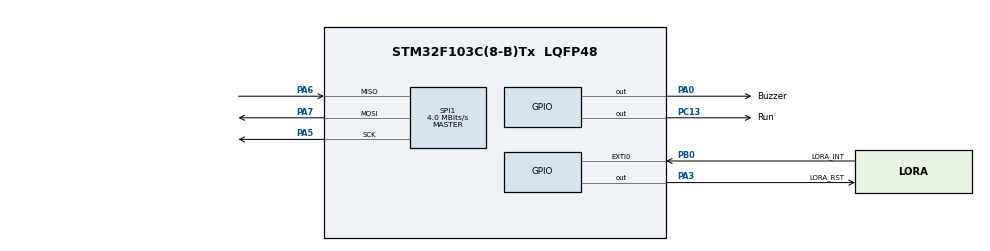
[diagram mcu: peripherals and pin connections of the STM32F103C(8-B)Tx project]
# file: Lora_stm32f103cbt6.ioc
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Mcu.Family=STM32F1
Mcu.Name=STM32F103C(8-B)Tx
Mcu.Package=LQFP48
NVIC.EXTI0_IRQn=true\:0\:0\:false\:false\:true\:true\:true\:true
NVIC.PriorityGroup=NVIC_PRIORITYGROUP_4
PA0-WKUP.GPIO_Label=Buzzer
PA0-WKUP.Signal=GPIO_Output
PA13.Mode=Trace_Asynchronous_SW
PA13.Signal=SYS_JTMS-SWDIO
PA14.Mode=Trace_Asynchronous_SW
PA14.Signal=SYS_JTCK-SWCLK
PA3.GPIO_Label=LORA_RST
PA3.Signal=GPIO_Output
PA4.GPIO_Label=LORA_NSS
PA4.Signal=SPI1_NSS
PA5.Mode=Full_Duplex_Master
PA5.Signal=SPI1_SCK
PA6.Mode=Full_Duplex_Master
PA6.Signal=SPI1_MISO
PA7.Mode=Full_Duplex_Master
PA7.Signal=SPI1_MOSI
PB0.GPIO_Label=LORA_INT
PB0.Signal=GPXTI0
PB3.Mode=Trace_Asynchronous_SW
PB3.Signal=SYS_JTDO-TRACESWO
PC13-TAMPER-RTC.GPIO_Label=Run
PC13-TAMPER-RTC.Signal=GPIO_Output
PD0-OSC_IN.Mode=HSE-External-Oscillator
PD0-OSC_IN.Signal=RCC_OSC_IN
PD1-OSC_OUT.Mode=HSE-External-Oscillator
PD1-OSC_OUT.Signal=RCC_OSC_OUT
ProjectManager.HeapSize=0x200
ProjectManager.StackSize=0x400
ProjectManager.TargetToolchain=STM32CubeIDE
RCC.APB1Freq_Value=8000000
RCC.APB2Freq_Value=8000000
SPI1.CalculateBaudRate=4.0 MBits/s
SPI1.Direction=SPI_DIRECTION_2LINES
SPI1.Mode=SPI_MODE_MASTER
SPI1.VirtualType=VM_MASTER
VP_CRC_VS_CRC.Mode=CRC_Activate
board=custom

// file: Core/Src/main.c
/* USER CODE BEGIN Header */
/**
  ******************************************************************************
  * @file           : main.c
  * @brief          : Main program body
  ******************************************************************************
  * @attention
  *
  * Copyright (c) 2025 STMicroelectronics.
  * All rights reserved.
  *
  * This software is licensed under terms that can be found in the LICENSE file
  * in the root directory of this software component.
  * If no LICENSE file comes with this software, it is provided AS-IS.
  *
  ******************************************************************************
  */
/* USER CODE END Header */
#include "main.h"

/* USER CODE BEGIN Includes */
#include "ack_handler.h"
#include "lora_config.h"
#include "debug.h"

/* USER CODE END Includes */

CRC_HandleTypeDef hcrc;

SPI_HandleTypeDef hspi1;

/* USER CODE BEGIN PV */
LoRa myLoRa;
uint8_t receivedFlag = 0;
/* USER CODE END PV */

void SystemClock_Config(void);
static void MX_GPIO_Init(void);
static void MX_CRC_Init(void);
static void MX_SPI1_Init(void);

int main(void)
{

  /* MCU Configuration--------------------------------------------------------*/

  /* Reset of all peripherals, Initializes the Flash interface and the Systick. */
  HAL_Init();

  /* Configure the system clock */
  SystemClock_Config();

  /* Initialize all configured peripherals */
  MX_GPIO_Init();
  MX_CRC_Init();
  MX_SPI1_Init();
  /* USER CODE BEGIN 2 */

  // Initialize LoRa
  LoRa_Init();
  DEBUG_PRINT("LoRa Init Successful\r\n");

  // Start LoRa receiving
  	  LoRa_startReceiving(&myLoRa);

  /* USER CODE END 2 */

  /* Infinite loop */
  while (1)
  {

    /* USER CODE BEGIN 3 */
	  if (receivedFlag)
	  		{
	  		 receivedFlag = 0;
	  		 receiveAndsendACK_RX(&myLoRa);
	  				 HAL_GPIO_TogglePin(Buzzer_GPIO_Port, Buzzer_Pin);
	  				 HAL_Delay(100);
	  				 HAL_GPIO_TogglePin(Buzzer_GPIO_Port, Buzzer_Pin);
	  				 HAL_Delay(100);
	  				 HAL_GPIO_TogglePin(Buzzer_GPIO_Port, Buzzer_Pin);
	  		     	 HAL_Delay(100);
	  				 HAL_GPIO_WritePin(Buzzer_GPIO_Port, Buzzer_Pin, GPIO_PIN_RESET);
	  		     	 HAL_Delay(100);
	  		}
  }
  /* USER CODE END 3 */
}

void SystemClock_Config(void)
{
  RCC_OscInitTypeDef RCC_OscInitStruct = {0};
  RCC_ClkInitTypeDef RCC_ClkInitStruct = {0};

  /** Initializes the RCC Oscillators according to the specified parameters
  * in the RCC_OscInitTypeDef structure.
  */
  RCC_OscInitStruct.OscillatorType = RCC_OSCILLATORTYPE_HSI;
  RCC_OscInitStruct.HSIState = RCC_HSI_ON;
  RCC_OscInitStruct.HSICalibrationValue = RCC_HSICALIBRATION_DEFAULT;
  RCC_OscInitStruct.PLL.PLLState = RCC_PLL_NONE;
  if (HAL_RCC_OscConfig(&RCC_OscInitStruct) != HAL_OK)
  {
    Error_Handler();
  }

  /** Initializes the CPU, AHB and APB buses clocks
  */
  RCC_ClkInitStruct.ClockType = RCC_CLOCKTYPE_HCLK|RCC_CLOCKTYPE_SYSCLK
                              |RCC_CLOCKTYPE_PCLK1|RCC_CLOCKTYPE_PCLK2;
  RCC_ClkInitStruct.SYSCLKSource = RCC_SYSCLKSOURCE_HSI;
  RCC_ClkInitStruct.AHBCLKDivider = RCC_SYSCLK_DIV1;
  RCC_ClkInitStruct.APB1CLKDivider = RCC_HCLK_DIV1;
  RCC_ClkInitStruct.APB2CLKDivider = RCC_HCLK_DIV1;

  if (HAL_RCC_ClockConfig(&RCC_ClkInitStruct, FLASH_LATENCY_0) != HAL_OK)
  {
    Error_Handler();
  }
}

static void MX_CRC_Init(void)
{

  hcrc.Instance = CRC;
  if (HAL_CRC_Init(&hcrc) != HAL_OK)
  {
    Error_Handler();
  }

}

static void MX_SPI1_Init(void)
{

  /* SPI1 parameter configuration*/
  hspi1.Instance = SPI1;
  hspi1.Init.Mode = SPI_MODE_MASTER;
  hspi1.Init.Direction = SPI_DIRECTION_2LINES;
  hspi1.Init.DataSize = SPI_DATASIZE_8BIT;
  hspi1.Init.CLKPolarity = SPI_POLARITY_LOW;
  hspi1.Init.CLKPhase = SPI_PHASE_1EDGE;
  hspi1.Init.NSS = SPI_NSS_SOFT;
  hspi1.Init.BaudRatePrescaler = SPI_BAUDRATEPRESCALER_2;
  hspi1.Init.FirstBit = SPI_FIRSTBIT_MSB;
  hspi1.Init.TIMode = SPI_TIMODE_DISABLE;
  hspi1.Init.CRCCalculation = SPI_CRCCALCULATION_DISABLE;
  hspi1.Init.CRCPolynomial = 10;
  if (HAL_SPI_Init(&hspi1) != HAL_OK)
  {
    Error_Handler();
  }

}

static void MX_GPIO_Init(void)
{
  GPIO_InitTypeDef GPIO_InitStruct = {0};

  /* GPIO Ports Clock Enable */
  __HAL_RCC_GPIOC_CLK_ENABLE();
  __HAL_RCC_GPIOD_CLK_ENABLE();
  __HAL_RCC_GPIOA_CLK_ENABLE();
  __HAL_RCC_GPIOB_CLK_ENABLE();

  /*Configure GPIO pin Output Level */
  HAL_GPIO_WritePin(Run_GPIO_Port, Run_Pin, GPIO_PIN_RESET);

  /*Configure GPIO pin Output Level */
  HAL_GPIO_WritePin(GPIOA, Buzzer_Pin|LORA_RST_Pin, GPIO_PIN_RESET);

  /*Configure GPIO pin : Run_Pin */
  GPIO_InitStruct.Pin = Run_Pin;
  GPIO_InitStruct.Mode = GPIO_MODE_OUTPUT_PP;
  GPIO_InitStruct.Pull = GPIO_NOPULL;
  GPIO_InitStruct.Speed = GPIO_SPEED_FREQ_LOW;
  HAL_GPIO_Init(Run_GPIO_Port, &GPIO_InitStruct);

  /*Configure GPIO pins : Buzzer_Pin LORA_RST_Pin */
  GPIO_InitStruct.Pin = Buzzer_Pin|LORA_RST_Pin;
  GPIO_InitStruct.Mode = GPIO_MODE_OUTPUT_PP;
  GPIO_InitStruct.Pull = GPIO_NOPULL;
  GPIO_InitStruct.Speed = GPIO_SPEED_FREQ_LOW;
  HAL_GPIO_Init(GPIOA, &GPIO_InitStruct);

  /*Configure GPIO pin : LORA_INT_Pin */
  GPIO_InitStruct.Pin = LORA_INT_Pin;
  GPIO_InitStruct.Mode = GPIO_MODE_IT_RISING;
  GPIO_InitStruct.Pull = GPIO_NOPULL;
  HAL_GPIO_Init(LORA_INT_GPIO_Port, &GPIO_InitStruct);

  /* EXTI interrupt init*/
  HAL_NVIC_SetPriority(EXTI0_IRQn, 0, 0);
  HAL_NVIC_EnableIRQ(EXTI0_IRQn);

}

void Error_Handler(void)
{
  __disable_irq();
  while (1)
  {
  }
}
